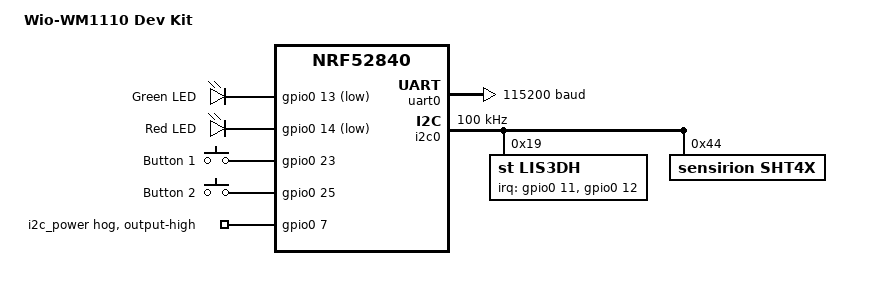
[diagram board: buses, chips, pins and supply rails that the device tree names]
/*
 * Copyright (c) 2025 Ishraq Ibne Ashraf <ishraq.i.ashraf@gmail.com>
 *
 * SPDX-License-Identifier: Apache-2.0
 */

/dts-v1/;
#include <nordic/nrf52840_qiaa.dtsi>
#include <nordic/nrf52840_partition.dtsi>
#include "wio_wm1110_dev_kit-pinctrl.dtsi"

/ {
	model = "Wio-WM1110 Dev Kit";
	compatible = "seeed,wio-wm1110-dev-kit";

	aliases {
		led0 = &led0;
		led1 = &led1;
		sw0 = &button0;
		sw1 = &button1;
		magn0 = &lis3dh;
		accel0 = &lis3dh;
		ambient-temp0 = &sht4x;
	};

	chosen {
		zephyr,console = &uart0;
		zephyr,shell-uart = &uart0;
	};

	leds {
		compatible = "gpio-leds";

		led0: led_0 {
			label = "Green LED";
			gpios = <&gpio0 13 GPIO_ACTIVE_LOW>;
		};

		led1: led_1 {
			label = "Red LED";
			gpios = <&gpio0 14 GPIO_ACTIVE_LOW>;
		};
	};

	buttons {
		compatible = "gpio-keys";

		button0: button_0 {
			label = "Button 1";
			gpios = <&gpio0 23 GPIO_PULL_UP>;
			zephyr,code = <INPUT_KEY_0>;
		};

		button1: button_1 {
			label = "Button 2";
			gpios = <&gpio0 25 GPIO_PULL_UP>;
			zephyr,code = <INPUT_KEY_1>;
		};
	};
};

&gpiote {
	status = "okay";
};

&gpio0 {
	status = "okay";

	i2c_power {
		gpio-hog;
		output-high;
		gpios = <7 GPIO_ACTIVE_HIGH>;
	};
};

&gpio1 {
	status = "okay";
};

&uart0 {
	compatible = "nordic,nrf-uarte";
	status = "okay";
	current-speed = <115200>;
	pinctrl-0 = <&uart0_default>;
	pinctrl-1 = <&uart0_sleep>;
	pinctrl-names = "default", "sleep";
};

&i2c0 {
	compatible = "nordic,nrf-twim";
	status = "okay";
	clock-frequency = <I2C_BITRATE_STANDARD>;
	pinctrl-0 = <&i2c0_default>;
	pinctrl-1 = <&i2c0_sleep>;
	pinctrl-names = "default", "sleep";

	lis3dh: lis3dh@19 {
		compatible = "st,lis3dh", "st,lis2dh";
		reg = <0x19>;
		irq-gpios =
			<&gpio0 11 GPIO_ACTIVE_HIGH>,
			<&gpio0 12 GPIO_ACTIVE_HIGH>;
	};

	sht4x: sht4x@44 {
		compatible = "sensirion,sht4x";
		reg = <0x44>;
		repeatability = <2>;
	};
};
